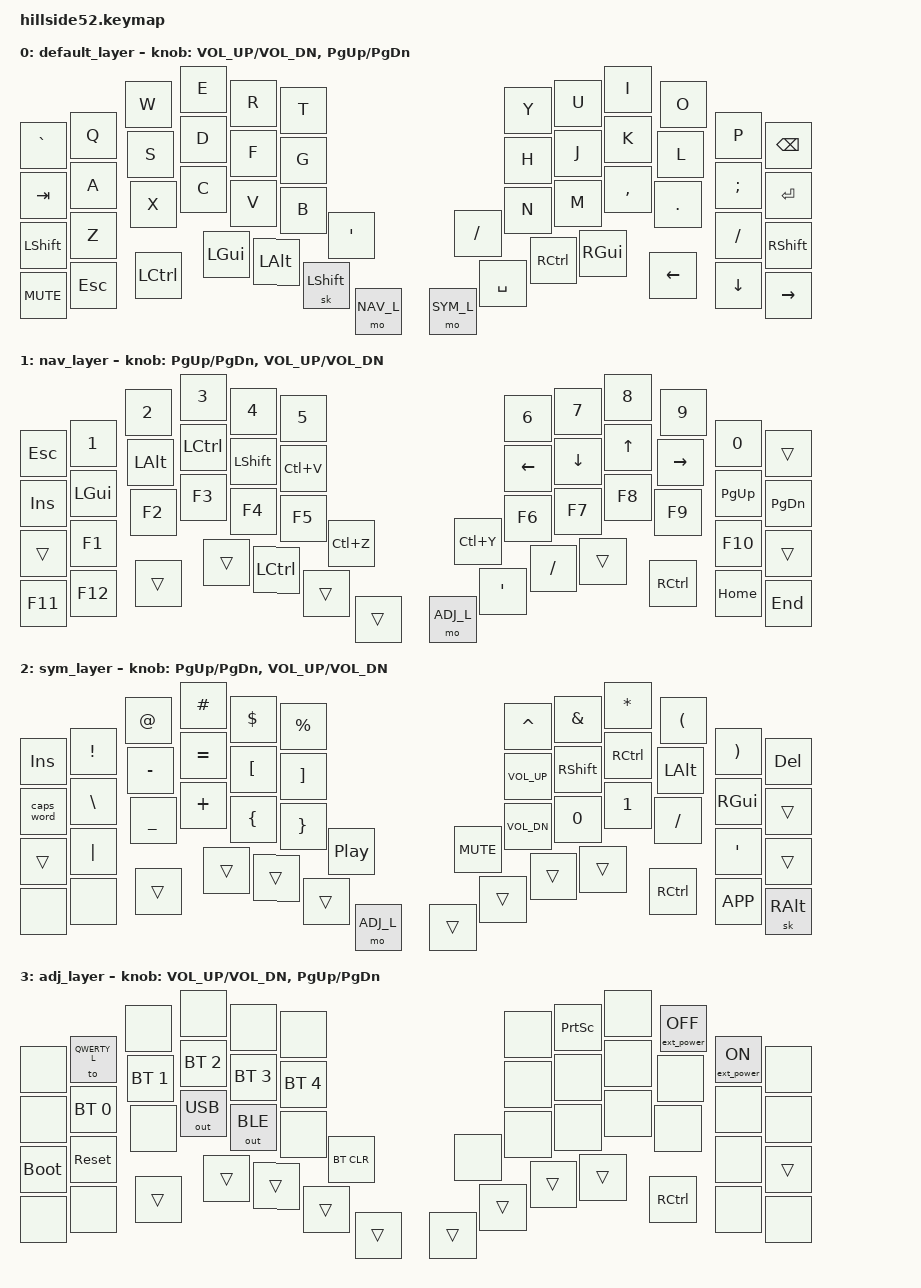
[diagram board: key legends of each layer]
/*
 * Copyright (c) 2021-2022 The ZMK Contributors
 *
 * SPDX-License-Identifier: MIT
 */

#include <behaviors.dtsi>
#include <dt-bindings/zmk/bt.h>
#include <dt-bindings/zmk/ext_power.h>
#include <dt-bindings/zmk/keys.h>
#include <dt-bindings/zmk/outputs.h>

#define QWERTY_L 0
#define NAV_L    1
#define SYM_L    2
#define ADJ_L    3

#define Undo   LC(Z)
#define Cut    LC(X)
#define Copy   LC(C)
#define Paste  LC(V)
#define Redo   LC(Y)


/ {
        keymap {
                compatible = "zmk,keymap";

                default_layer {
/* QWERTY
 * -------------------------------------------------------------------------------------------------------------------------------------
 * | `     |   Q   |   W   |   E   |   R   |   T   |-----------------------------------|   Y   |   U   |   I   |   O   |   P   | BKSPC |
 * | TAB   |   A   |   S   |   D   |   F   |   G   |-----------------------------------|   H   |   J   |   K   |   L   |   ;   | ENTER |
 * | SHIFT |   Z   |   X   |   C   |   V   |   B   |   '   |-------------------|   /   |   N   |   M   |   ,   |   .   |   /   | SHIFT |
 * | Mute  |  ESC  | CTRL  |-------|  GUI  |  ALT  |SK SHFT|  Nav  |---|  Sym  | SPACE | CTRL  |  GUI  |-------| Left  | Down  | Right |
 */
                        bindings = <
&kp  GRAVE    &kp  Q        &kp  W        &kp  E        &kp  R        &kp  T                                                                         &kp  Y        &kp  U        &kp  I        &kp  O        &kp  P        &kp  BSPC
&kp  TAB      &kp  A        &kp  S        &kp  D        &kp  F        &kp  G                                                                         &kp  H        &kp  J        &kp  K        &kp  L        &kp  SEMI     &kp  ENTER
&kp  LSHFT    &kp  Z        &kp  X        &kp  C        &kp  V        &kp  B        &kp  SQT                                           &kp  SLASH    &kp  N        &kp  M        &kp  COMMA    &kp  DOT      &kp  SLASH    &kp  RSHFT
&kp  C_MUTE   &kp  ESC      &kp  LCTRL                  &kp  LGUI     &kp  LALT     &sk  LSHIFT    &mo  NAV_L            &mo  SYM_L    &kp  SPACE    &kp  RCTRL    &kp  RGUI                   &kp  LEFT     &kp  DOWN     &kp  RIGHT
                        >;
			
                        sensor-bindings = <&inc_dec_kp C_VOL_UP C_VOL_DN &inc_dec_kp PG_UP PG_DN>;
                };
		
                nav_layer {
/* NAV
 * -------------------------------------------------------------------------------------------------------------------------------------
 * | ESC   |   1   |   2   |   3   |   4   |   5   |-----------------------------------|   6   |   7   |   8   |   9   |   0   | BSPC  |
 * | INS   |  GUI  |  Alt  | Ctrl  | Shift | Paste |-----------------------------------|  Left |  Down |  Up   | Right | PG UP | PG DN |
 * | Shift |  F1   |  F2   |  F3   |  F4   |  F5   |  UnDo |-------------------| ReDo  |  F6   |  F7   |  F8   |  F9   |  F10  | Shift |
 * | F11   |  F12  |       |-------|       | Ctrl  |       |       |---| ADJ_L |   '   |   /   |       |-------| CTRL  | HOME  |  END  |
 */
                        bindings = <
&kp  ESC      &kp  N1       &kp  N2       &kp  N3       &kp  N4       &kp  N5                                                                        &kp   N6      &kp  N7      &kp   N8      &kp   N9      &kp  N0       &trans
&kp  INS      &kp  LGUI     &kp  LALT     &kp LCTRL     &kp  LSHFT    &kp  Paste                                                                     &kp   LEFT    &kp  DOWN    &kp   UP      &kp   RIGHT   &kp  PG_UP    &kp PG_DN
&trans        &kp  F1       &kp  F2       &kp  F3       &kp  F4       &kp  F5       &kp Undo                                           &kp  Redo     &kp   F6      &kp  F7      &kp   F8      &kp   F9      &kp  F10      &trans
&kp  F11      &kp  F12      &trans        &trans        &kp  LCTRL    &trans        &trans                 &mo ADJ_L     &kp SQT       &kp SLASH     &trans                     &kp  RCTRL    &kp  HOME     &kp  END
                        >;
			
                        sensor-bindings = <&inc_dec_kp PG_UP PG_DN &inc_dec_kp C_VOL_UP C_VOL_DN>;
                };

                sym_layer {
/* SYM
 * -------------------------------------------------------------------------------------------------------------------------------------
 * | INS   |   !   |   @   |   #   |   $   |   %   |-----------------------------------|   ^   |   &   |   *   |   (   |   )   | DELETE|
 * | CAPS  |   \   |   -   |   =   |   [   |   ]   |-----------------------------------| Vol+  | Shift | Ctrl  | Alt   | Gui   | ENTER |
 * | Shift |   |   |   _   |   +   |   {   |   }   | Play  |-------------------| Mute  | Vol-  |  N0   |  N1   |   /   |   '   | SHIFT |
 * |       |       |       |-------|       |       |       |  ADJ_L |---|      |       |       |       |-------| CTRL  | MENU  |SkAltGr|
 */
                        bindings = <
&kp  INS      &kp  EXCL     &kp  AT       &kp  HASH     &kp  DOLLAR   &kp  PERCENT                                                                   &kp  CARET    &kp  AMPS     &kp  ASTRK    &kp  LPAR     &kp  RPAR     &kp  DEL
&caps_word    &kp  BSLH     &kp  MINUS    &kp  EQUAL    &kp  LBKT     &kp  RBKT                                                                      &kp C_VOL_UP  &kp  RSHFT    &kp  RCTRL    &kp  LALT     &kp  RGUI     &trans
&trans        &kp  PIPE     &kp  UNDER    &kp  PLUS     &kp  LBRC     &kp  RBRC     &kp  C_PP                                          &kp C_MUTE    &kp C_VOL_DN  &kp  N0       &kp  N1       &kp  SLASH    &kp  SQT      &trans
&none         &none         &trans                      &trans        &trans        &trans        &mo  ADJ_L               &trans      &trans        &trans        &trans                      &kp  RCTRL    &kp  K_APP    &sk  RALT
                        >;
			
                        sensor-bindings = <&inc_dec_kp PG_UP PG_DN &inc_dec_kp C_VOL_UP C_VOL_DN>;
                };
		

                adj_layer {
/* ADJUST
 * -------------------------------------------------------------------------------------------------------------------------------------
 * |       | QWERTY|       |       |       |       |-----------------------------------|       |Prt Scr|       | EP_OFF| EP_ON |       |
 * |       | BT 0  | BT 1  | BT 2  | BT 3  | BT 4  |-----------------------------------|       |       |       |       |       |       |
 * | BOOTL | RESET |       |OUT_USB|OUT_BLE|       |BT CLR |-------------------|       |       |       |       |       |       | SHIFT |
 * ----------------|       |-------|       |       |       |       |---|       |       |       |       |-------| CTRL  |----------------
 */
                        bindings = <
&none         &to  QWERTY_L &none         &none         &none         &none                                                                             &none             &kp PRINTSCREEN    &none         &ext_power EP_OFF  &ext_power EP_ON &none
&none         &bt  BT_SEL 0 &bt  BT_SEL 1 &bt  BT_SEL 2 &bt  BT_SEL 3 &bt  BT_SEL 4                                                                     &none             &none              &none            &none           &none            &none
&bootloader   &sys_reset    &none         &out OUT_USB  &out OUT_BLE  &none         &bt BT_CLR                                         &none            &none             &none              &none            &none           &none            &trans
&none         &none         &trans                      &trans        &trans        &trans        &trans                 &trans        &trans           &trans            &trans                              &kp  RCTRL      &none            &none
                        >;
			
                        sensor-bindings = <&inc_dec_kp C_VOL_UP C_VOL_DN &inc_dec_kp PG_UP PG_DN>;
                };
        };
};
